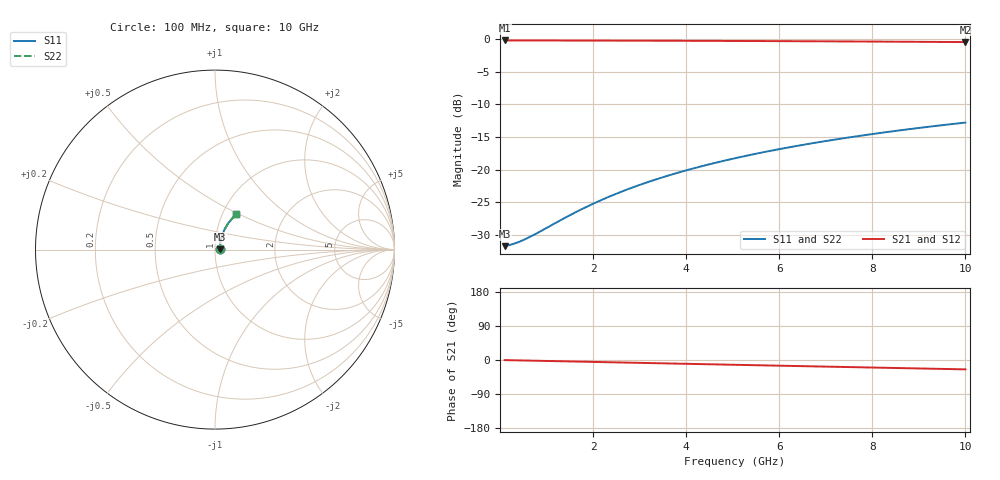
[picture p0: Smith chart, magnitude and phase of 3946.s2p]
# Hz S RI R 50.00
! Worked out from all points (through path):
!   100 points, 100 MHz to 10 GHz, reference 50 ohm
!   highest |S21| = -0.23 dB at 100 MHz (marker M1); lowest = -0.5 dB at 10 GHz (marker M2)
!   group delay of S21, straight-line fit = 6.87 ps
!   lowest |S11| = -31.7 dB at 100 MHz (marker M3), VSWR 1.05, Z = 52.7 + j0.241 ohm
!   |S11| at or under -10 dB: start of sweep to end of sweep
!   |S22| runs from -31.7 to -12.8 dB; largest |S21 - S12| = 0
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1e8  0.0259 0.00229  0.974 -0.00428  0.974 -0.00428  0.0259 0.00229
2e8  0.0261 0.00457  0.9738 -0.00856  0.9738 -0.00856  0.0261 0.00457
3e8  0.0263 0.00685  0.9737 -0.0128  0.9737 -0.0128  0.0263 0.00685
4e8  0.0265 0.00913  0.9735 -0.0171  0.9735 -0.0171  0.0265 0.00913
6e8  0.0268 0.0137  0.9731 -0.0256  0.9731 -0.0256  0.0268 0.0137
8e8  0.0273 0.0182  0.9726 -0.0342  0.9726 -0.0342  0.0273 0.0182
1.4e9  0.0289 0.0318  0.9707 -0.0597  0.9707 -0.0597  0.0289 0.0318
1.8e9  0.0303 0.0408  0.969 -0.0767  0.969 -0.0767  0.0303 0.0408
2.2e9  0.032 0.0497  0.967 -0.0936  0.967 -0.0936  0.032 0.0497
2.6e9  0.034 0.0586  0.9646 -0.1105  0.9646 -0.1105  0.034 0.0586
3e9  0.0364 0.0674  0.9618 -0.1272  0.9618 -0.1272  0.0364 0.0674
3.4e9  0.039 0.076  0.9586 -0.1439  0.9586 -0.1439  0.039 0.076
3.8e9  0.0419 0.0846  0.9551 -0.1604  0.9551 -0.1604  0.0419 0.0846
4.2e9  0.0451 0.093  0.9513 -0.1768  0.9513 -0.1768  0.0451 0.093
4.6e9  0.0486 0.1013  0.9471 -0.1931  0.9471 -0.1931  0.0486 0.1013
5.1e9  0.0533 0.1115  0.9414 -0.2133  0.9414 -0.2133  0.0533 0.1115
5.9e9  0.0618 0.1273  0.9311 -0.245  0.9311 -0.245  0.0618 0.1273
6.7e9  0.0712 0.1424  0.9196 -0.2761  0.9196 -0.2761  0.0712 0.1424
7.5e9  0.0817 0.1567  0.9068 -0.3064  0.9068 -0.3064  0.0817 0.1567
8.4e9  0.0945 0.1718  0.8911 -0.3395  0.8911 -0.3395  0.0945 0.1718
9.2e9  0.1067 0.1842  0.8759 -0.368  0.8759 -0.368  0.1067 0.1842
1e10  0.1196 0.1958  0.8598 -0.3956  0.8598 -0.3956  0.1196 0.1958
